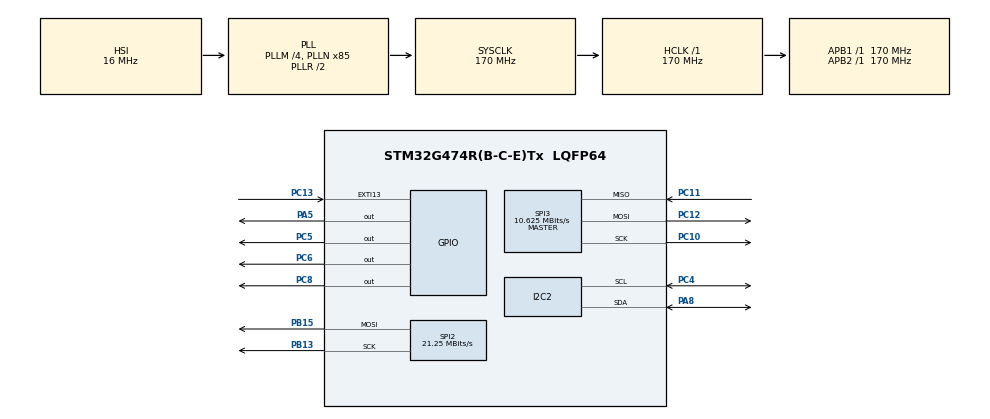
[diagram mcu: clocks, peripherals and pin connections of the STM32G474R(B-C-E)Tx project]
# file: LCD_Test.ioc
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I2C2.Timing=0x40B285C2
Mcu.Family=STM32G4
Mcu.Name=STM32G474R(B-C-E)Tx
Mcu.Package=LQFP64
NUCLEO-G474RE.BUTTON=1
NUCLEO-G474RE.LD2=true
NUCLEO-G474RE.VCP=true
NVIC.EXTI15_10_IRQn=true\:0\:0\:false\:false\:true\:true\:true\:true
NVIC.PriorityGroup=NVIC_PRIORITYGROUP_4
PA13.GPIO_Label=T_SWDIO
PA13.Mode=Serial_Wire
PA13.Signal=SYS_JTMS-SWDIO
PA14.GPIO_Label=T_SWCLK
PA14.Mode=Serial_Wire
PA14.Signal=SYS_JTCK-SWCLK
PA2.Signal=LPUART1_TX
PA3.Signal=LPUART1_RX
PA5.Signal=GPIO_Output
PA8.Mode=I2C
PA8.Signal=I2C2_SDA
PB13.Mode=TX_Only_Simplex_Unidirect_Master
PB13.Signal=SPI2_SCK
PB15.Mode=TX_Only_Simplex_Unidirect_Master
PB15.Signal=SPI2_MOSI
PB3.GPIO_Label=T_SWO
PB3.Signal=SYS_JTDO-SWO
PC10.Mode=Full_Duplex_Master
PC10.Signal=SPI3_SCK
PC11.Mode=Full_Duplex_Master
PC11.Signal=SPI3_MISO
PC12.Mode=Full_Duplex_Master
PC12.Signal=SPI3_MOSI
PC13.Signal=GPXTI13
PC14-OSC32_IN.GPIO_Label=RCC_OSC32_IN
PC14-OSC32_IN.Signal=RCC_OSC32_IN
PC15-OSC32_OUT.GPIO_Label=RCC_OSC32_OUT
PC15-OSC32_OUT.Signal=RCC_OSC32_OUT
PC4.Mode=I2C
PC4.Signal=I2C2_SCL
PC5.Signal=GPIO_Output
PC6.Signal=GPIO_Output
PC8.Signal=GPIO_Output
PF0-OSC_IN.GPIO_Label=RCC_OSC_IN
PF0-OSC_IN.Signal=RCC_OSC_IN
PF1-OSC_OUT.GPIO_Label=RCC_OSC_OUT
PF1-OSC_OUT.Signal=RCC_OSC_OUT
ProjectManager.HeapSize=0x200
ProjectManager.StackSize=0x400
ProjectManager.TargetToolchain=STM32CubeIDE
RCC.ADC12Freq_Value=170000000
RCC.ADC345Freq_Value=170000000
RCC.AHBFreq_Value=170000000
RCC.APB1Freq_Value=170000000
RCC.APB1TimFreq_Value=170000000
RCC.APB2Freq_Value=170000000
RCC.APB2TimFreq_Value=170000000
RCC.CortexFreq_Value=170000000
RCC.EXTERNAL_CLOCK_VALUE=12288000
RCC.HCLKFreq_Value=170000000
RCC.HSE_VALUE=24000000
RCC.HSI48_VALUE=48000000
RCC.HSI_VALUE=16000000
RCC.LSE_VALUE=32768
RCC.PLLM=RCC_PLLM_DIV4
RCC.PLLN=85
RCC.RTCClockSelection=RCC_RTCCLKSOURCE_LSE
RCC.SYSCLKFreq_VALUE=170000000
RCC.SYSCLKSource=RCC_SYSCLKSOURCE_PLLCLK
RCC.USBFreq_Value=170000000
RCC.VCOOutputFreq_Value=340000000
SPI2.BaudRatePrescaler=SPI_BAUDRATEPRESCALER_8
SPI2.CLKPhase=SPI_PHASE_2EDGE
SPI2.CLKPolarity=SPI_POLARITY_HIGH
SPI2.CalculateBaudRate=21.25 MBits/s
SPI2.DataSize=SPI_DATASIZE_8BIT
SPI2.Direction=SPI_DIRECTION_2LINES
SPI2.FirstBit=SPI_FIRSTBIT_MSB
SPI2.Mode=SPI_MODE_MASTER
SPI2.VirtualType=VM_MASTER
SPI3.BaudRatePrescaler=SPI_BAUDRATEPRESCALER_16
SPI3.CLKPhase=SPI_PHASE_2EDGE
SPI3.CLKPolarity=SPI_POLARITY_HIGH
SPI3.CalculateBaudRate=10.625 MBits/s
SPI3.DataSize=SPI_DATASIZE_8BIT
SPI3.Direction=SPI_DIRECTION_2LINES
SPI3.Mode=SPI_MODE_MASTER
SPI3.VirtualType=VM_MASTER
VP_NUCLEO-G474RE_VS_BSP_COMMON.Mode=COMMON
VP_SYS_VS_DBSignals.Mode=DisableDeadBatterySignals
board=NUCLEO-G474RE

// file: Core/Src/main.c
/* USER CODE BEGIN Header */
/**
  ******************************************************************************
  * @file           : main.c
  * @brief          : Main program body
  ******************************************************************************
  * @attention
  *
  * Copyright (c) 2026 STMicroelectronics.
  * All rights reserved.
  *
  * This software is licensed under terms that can be found in the LICENSE file
  * in the root directory of this software component.
  * If no LICENSE file comes with this software, it is provided AS-IS.
  *
  ******************************************************************************
  -------------------------------Okragły wyświetlacz GC9A01--------------------*/
/* USER CODE END Header */
#include "main.h"
#include "i2c.h"
#include "spi.h"
#include "gpio.h"

/* USER CODE BEGIN Includes */
#include <stdio.h>
#include "BME280_STM32.h"
#include <stdlib.h>
/* USER CODE END Includes */

/* USER CODE BEGIN PD */
#define LCD_CS_LOW()   HAL_GPIO_WritePin(GPIOC, GPIO_PIN_6, GPIO_PIN_RESET)
#define LCD_CS_HIGH()  HAL_GPIO_WritePin(GPIOC, GPIO_PIN_6, GPIO_PIN_SET)
#define LCD_DC_CMD()   HAL_GPIO_WritePin(GPIOC, GPIO_PIN_5, GPIO_PIN_RESET)
#define LCD_DC_DATA()  HAL_GPIO_WritePin(GPIOC, GPIO_PIN_5, GPIO_PIN_SET)
#define LCD_RST_LOW()  HAL_GPIO_WritePin(GPIOC, GPIO_PIN_8, GPIO_PIN_RESET)
#define LCD_RST_HIGH() HAL_GPIO_WritePin(GPIOC, GPIO_PIN_8, GPIO_PIN_SET)

#define LCD_W 240
#define LCD_H 240

/* kolory RGB565 */
#define RED     0xF800
#define GREEN   0x07E0
#define BLUE    0x001F
#define WHITE   0xFFFF
#define BLACK   0x0000
#define YELLOW  0xFFE0

/* USER CODE END PD */

COM_InitTypeDef BspCOMInit;

void SystemClock_Config(void);

/* USER CODE BEGIN 0 */
static void LCD_Cmd(uint8_t cmd)
{
    LCD_DC_CMD();
    LCD_CS_LOW();
    HAL_SPI_Transmit(&hspi2, &cmd, 1, HAL_MAX_DELAY);
    LCD_CS_HIGH();
}

static void LCD_Data(const uint8_t *data, uint16_t len)
{
    LCD_DC_DATA();
    LCD_CS_LOW();
    HAL_SPI_Transmit(&hspi2, (uint8_t *)data, len, HAL_MAX_DELAY);
    LCD_CS_HIGH();
}

/* komenda + dane z tablicy: {cmd, liczba_danych, dane...} */
static void LCD_CmdData(uint8_t cmd, const uint8_t *data, uint8_t len)
{
    LCD_Cmd(cmd);
    if (len) LCD_Data(data, len);
}

static const uint8_t init_seq[] = {
    0xEF,0,  0xEB,1,0x14,  0xFE,0,  0xEF,0,  0xEB,1,0x14,
    0x84,1,0x40, 0x85,1,0xFF, 0x86,1,0xFF, 0x87,1,0xFF,
    0x88,1,0x0A, 0x89,1,0x21, 0x8A,1,0x00, 0x8B,1,0x80,
    0x8C,1,0x01, 0x8D,1,0x01, 0x8E,1,0xFF, 0x8F,1,0xFF,
    0xB6,2,0x00,0x20,
	0x36,1,0xC8,            /* orientacja, BGR */
    0x3A,1,0x05,            /* 16 bit / piksel */
    0x90,4,0x08,0x08,0x08,0x08,
    0xBD,1,0x06, 0xBC,1,0x00,
    0xFF,3,0x60,0x01,0x04,
    0xC3,1,0x13, 0xC4,1,0x13, 0xC9,1,0x22, 0xBE,1,0x11,
    0xE1,2,0x10,0x0E,
    0xDF,3,0x21,0x0C,0x02,
    0xF0,6,0x45,0x09,0x08,0x08,0x26,0x2A,
    0xF1,6,0x43,0x70,0x72,0x36,0x37,0x6F,
    0xF2,6,0x45,0x09,0x08,0x08,0x26,0x2A,
    0xF3,6,0x43,0x70,0x72,0x36,0x37,0x6F,
    0xED,2,0x1B,0x0B, 0xAE,1,0x77, 0xCD,1,0x63,
    0x70,9,0x07,0x07,0x04,0x0E,0x0F,0x09,0x07,0x08,0x03,
    0xE8,1,0x34,
    0x62,12,0x18,0x0D,0x71,0xED,0x70,0x70,0x18,0x0F,0x71,0xEF,0x70,0x70,
    0x63,12,0x18,0x11,0x71,0xF1,0x70,0x70,0x18,0x13,0x71,0xF3,0x70,0x70,
    0x64,7,0x28,0x29,0xF1,0x01,0xF1,0x00,0x07,
    0x66,10,0x3C,0x00,0xCD,0x67,0x45,0x45,0x10,0x00,0x00,0x00,
    0x67,10,0x00,0x3C,0x00,0x00,0x00,0x01,0x54,0x10,0x32,0x98,
    0x74,7,0x10,0x85,0x80,0x00,0x00,0x4E,0x00,
    0x98,2,0x3E,0x07,
    0x35,0,                 /* tearing effect on */
    0x21,0,                 /* inwersja kolorów (wymagana w GC9A01) */
};

static void LCD_Init(void)
{
    LCD_CS_HIGH();
    LCD_RST_HIGH(); HAL_Delay(10);
    LCD_RST_LOW();  HAL_Delay(10);
    LCD_RST_HIGH(); HAL_Delay(120);

    uint16_t i = 0;
    while (i < sizeof(init_seq))
    {
        uint8_t cmd = init_seq[i++];
        uint8_t len = init_seq[i++];
        LCD_CmdData(cmd, &init_seq[i], len);
        i += len;
    }

    LCD_Cmd(0x11);  HAL_Delay(120);   /* wyjście ze sleep */
    LCD_Cmd(0x29);  HAL_Delay(20);    /* włącz wyświetlanie */
}

static void LCD_SetWindow(uint16_t x0, uint16_t y0, uint16_t x1, uint16_t y1)
{
    uint8_t d[4];
    d[0] = x0 >> 8; d[1] = x0; d[2] = x1 >> 8; d[3] = x1;
    LCD_CmdData(0x2A, d, 4);          /* kolumny */
    d[0] = y0 >> 8; d[1] = y0; d[2] = y1 >> 8; d[3] = y1;
    LCD_CmdData(0x2B, d, 4);          /* wiersze */
    LCD_Cmd(0x2C);                    /* zapis pamięci */
}

static void LCD_FillRect(uint16_t x, uint16_t y, uint16_t w, uint16_t h, uint16_t color)
{
    static uint8_t line[LCD_W * 2];
    for (uint16_t i = 0; i < w; i++)
    {
        line[2*i]   = color >> 8;     /* najpierw starszy bajt */
        line[2*i+1] = color & 0xFF;
    }

    LCD_SetWindow(x, y, x + w - 1, y + h - 1);
    LCD_DC_DATA();
    LCD_CS_LOW();
    for (uint16_t row = 0; row < h; row++)
        HAL_SPI_Transmit(&hspi2, line, w * 2, HAL_MAX_DELAY);
    LCD_CS_HIGH();
}
/* Jeden piksel */
static void LCD_DrawPixel(int16_t x, int16_t y, uint16_t color)
{
    if (x < 0 || y < 0 || x >= LCD_W || y >= LCD_H) return;
    uint8_t d[2] = { color >> 8, color & 0xFF };
    LCD_SetWindow(x, y, x, y);
    LCD_Data(d, 2);
}

/* Okrąg (sam obwód): środek (x0, y0), promień r */
static void LCD_DrawCircle(int16_t x0, int16_t y0, int16_t r, uint16_t color)
{
    int16_t x = r, y = 0;
    int16_t err = 1 - r;

    while (x >= y)
    {
        /* 8 symetrycznych punktów */
        LCD_DrawPixel(x0 + x, y0 + y, color);
        LCD_DrawPixel(x0 + y, y0 + x, color);
        LCD_DrawPixel(x0 - y, y0 + x, color);
        LCD_DrawPixel(x0 - x, y0 + y, color);
        LCD_DrawPixel(x0 - x, y0 - y, color);
        LCD_DrawPixel(x0 - y, y0 - x, color);
        LCD_DrawPixel(x0 + y, y0 - x, color);
        LCD_DrawPixel(x0 + x, y0 - y, color);

        y++;
        if (err < 0)
            err += 2 * y + 1;
        else
        {
            x--;
            err += 2 * (y - x) + 1;
        }
    }
}

/* Linia pozioma - pomocnicza do wypełnionego koła */
static void LCD_HLine(int16_t x, int16_t y, int16_t w, uint16_t color)
{
    if (y < 0 || y >= LCD_H) return;
    if (x < 0) { w += x; x = 0; }
    if (x + w > LCD_W) w = LCD_W - x;
    if (w > 0) LCD_FillRect(x, y, w, 1, color);
}

/* Koło wypełnione */
static void LCD_FillCircle(int16_t x0, int16_t y0, int16_t r, uint16_t color)
{
    int16_t x = r, y = 0;
    int16_t err = 1 - r;

    while (x >= y)
    {
        LCD_HLine(x0 - x, y0 + y, 2 * x + 1, color);
        LCD_HLine(x0 - x, y0 - y, 2 * x + 1, color);
        LCD_HLine(x0 - y, y0 + x, 2 * y + 1, color);
        LCD_HLine(x0 - y, y0 - x, 2 * y + 1, color);

        y++;
        if (err < 0)
            err += 2 * y + 1;
        else
        {
            x--;
            err += 2 * (y - x) + 1;
        }
    }
}
static void LCD_Fill(uint16_t color)

{
    LCD_FillRect(0, 0, LCD_W, LCD_H, color);
}

/* =====================================================================
 *  Wyświetlanie napisów na GC9A01
 *  Wklej CAŁOŚĆ do sekcji  USER CODE BEGIN 0  w main.c,
 *  POD funkcją LCD_Fill() (korzysta z LCD_SetWindow i LCD_Data).
 *
 *  Czcionka 5x7 (ASCII 32..126), każdy znak zajmuje 6x8 pikseli.
 *  Parametr "scale" powiększa tekst: 1 = 6x8, 2 = 12x16, 3 = 18x24 ...
 *  Polskie znaki (ą, ę, ł...) nie są obsługiwane - pojawi się "?".
 * ===================================================================== */

#define FONT_W        5
#define FONT_H        7
#define CHAR_W        6      /* 5 kolumn + 1 odstępu */
#define CHAR_H        8      /* 7 wierszy + 1 odstępu */
#define TEXT_MAX_SCALE 6

static const uint8_t font5x7[] = {
    0x00,0x00,0x00,0x00,0x00, /* ' ' */
    0x00,0x00,0x5F,0x00,0x00, /* !  */
    0x00,0x07,0x00,0x07,0x00, /* "  */
    0x14,0x7F,0x14,0x7F,0x14, /* #  */
    0x24,0x2A,0x7F,0x2A,0x12, /* $  */
    0x23,0x13,0x08,0x64,0x62, /* %  */
    0x36,0x49,0x55,0x22,0x50, /* &  */
    0x00,0x05,0x03,0x00,0x00, /* '  */
    0x00,0x1C,0x22,0x41,0x00, /* (  */
    0x00,0x41,0x22,0x1C,0x00, /* )  */
    0x08,0x2A,0x1C,0x2A,0x08, /* *  */
    0x08,0x08,0x3E,0x08,0x08, /* +  */
    0x00,0x50,0x30,0x00,0x00, /* ,  */
    0x08,0x08,0x08,0x08,0x08, /* -  */
    0x00,0x60,0x60,0x00,0x00, /* .  */
    0x20,0x10,0x08,0x04,0x02, /* /  */
    0x3E,0x51,0x49,0x45,0x3E, /* 0  */
    0x00,0x42,0x7F,0x40,0x00, /* 1  */
    0x42,0x61,0x51,0x49,0x46, /* 2  */
    0x21,0x41,0x45,0x4B,0x31, /* 3  */
    0x18,0x14,0x12,0x7F,0x10, /* 4  */
    0x27,0x45,0x45,0x45,0x39, /* 5  */
    0x3C,0x4A,0x49,0x49,0x30, /* 6  */
    0x01,0x71,0x09,0x05,0x03, /* 7  */
    0x36,0x49,0x49,0x49,0x36, /* 8  */
    0x06,0x49,0x49,0x29,0x1E, /* 9  */
    0x00,0x36,0x36,0x00,0x00, /* :  */
    0x00,0x56,0x36,0x00,0x00, /* ;  */
    0x08,0x14,0x22,0x41,0x00, /* <  */
    0x14,0x14,0x14,0x14,0x14, /* =  */
    0x00,0x41,0x22,0x14,0x08, /* >  */
    0x02,0x01,0x51,0x09,0x06, /* ?  */
    0x32,0x49,0x79,0x41,0x3E, /* @  */
    0x7E,0x11,0x11,0x11,0x7E, /* A  */
    0x7F,0x49,0x49,0x49,0x36, /* B  */
    0x3E,0x41,0x41,0x41,0x22, /* C  */
    0x7F,0x41,0x41,0x22,0x1C, /* D  */
    0x7F,0x49,0x49,0x49,0x41, /* E  */
    0x7F,0x09,0x09,0x01,0x01, /* F  */
    0x3E,0x41,0x41,0x51,0x32, /* G  */
    0x7F,0x08,0x08,0x08,0x7F, /* H  */
    0x00,0x41,0x7F,0x41,0x00, /* I  */
    0x20,0x40,0x41,0x3F,0x01, /* J  */
    0x7F,0x08,0x14,0x22,0x41, /* K  */
    0x7F,0x40,0x40,0x40,0x40, /* L  */
    0x7F,0x02,0x04,0x02,0x7F, /* M  */
    0x7F,0x04,0x08,0x10,0x7F, /* N  */
    0x3E,0x41,0x41,0x41,0x3E, /* O  */
    0x7F,0x09,0x09,0x09,0x06, /* P  */
    0x3E,0x41,0x51,0x21,0x5E, /* Q  */
    0x7F,0x09,0x19,0x29,0x46, /* R  */
    0x46,0x49,0x49,0x49,0x31, /* S  */
    0x01,0x01,0x7F,0x01,0x01, /* T  */
    0x3F,0x40,0x40,0x40,0x3F, /* U  */
    0x1F,0x20,0x40,0x20,0x1F, /* V  */
    0x7F,0x20,0x18,0x20,0x7F, /* W  */
    0x63,0x14,0x08,0x14,0x63, /* X  */
    0x03,0x04,0x78,0x04,0x03, /* Y  */
    0x61,0x51,0x49,0x45,0x43, /* Z  */
    0x00,0x7F,0x41,0x41,0x00, /* [  */
    0x02,0x04,0x08,0x10,0x20, /* \  */
    0x00,0x41,0x41,0x7F,0x00, /* ]  */
    0x04,0x02,0x01,0x02,0x04, /* ^  */
    0x40,0x40,0x40,0x40,0x40, /* _  */
    0x00,0x01,0x02,0x04,0x00, /* `  */
    0x20,0x54,0x54,0x54,0x78, /* a  */
    0x7F,0x48,0x44,0x44,0x38, /* b  */
    0x38,0x44,0x44,0x44,0x20, /* c  */
    0x38,0x44,0x44,0x48,0x7F, /* d  */
    0x38,0x54,0x54,0x54,0x18, /* e  */
    0x08,0x7E,0x09,0x01,0x02, /* f  */
    0x08,0x14,0x54,0x54,0x3C, /* g  */
    0x7F,0x08,0x04,0x04,0x78, /* h  */
    0x00,0x44,0x7D,0x40,0x00, /* i  */
    0x20,0x40,0x44,0x3D,0x00, /* j  */
    0x00,0x7F,0x10,0x28,0x44, /* k  */
    0x00,0x41,0x7F,0x40,0x00, /* l  */
    0x7C,0x04,0x18,0x04,0x78, /* m  */
    0x7C,0x08,0x04,0x04,0x78, /* n  */
    0x38,0x44,0x44,0x44,0x38, /* o  */
    0x7C,0x14,0x14,0x14,0x08, /* p  */
    0x08,0x14,0x14,0x18,0x7C, /* q  */
    0x7C,0x08,0x04,0x04,0x08, /* r  */
    0x48,0x54,0x54,0x54,0x20, /* s  */
    0x04,0x3F,0x44,0x40,0x20, /* t  */
    0x3C,0x40,0x40,0x20,0x7C, /* u  */
    0x1C,0x20,0x40,0x20,0x1C, /* v  */
    0x3C,0x40,0x30,0x40,0x3C, /* w  */
    0x44,0x28,0x10,0x28,0x44, /* x  */
    0x0C,0x50,0x50,0x50,0x3C, /* y  */
    0x44,0x64,0x54,0x4C,0x44, /* z  */
    0x00,0x08,0x36,0x41,0x00, /* {  */
    0x00,0x00,0x7F,0x00,0x00, /* |  */
    0x00,0x41,0x36,0x08,0x00, /* }  */
    0x08,0x04,0x08,0x10,0x08, /* ~  */
};

/* Rysuje jeden znak. (x, y) = lewy górny róg. */
static void LCD_DrawChar(uint16_t x, uint16_t y, char c,
                         uint16_t fg, uint16_t bg, uint8_t scale)
{
    static uint8_t buf[CHAR_W * TEXT_MAX_SCALE * CHAR_H * TEXT_MAX_SCALE * 2];

    if (scale < 1) scale = 1;
    if (scale > TEXT_MAX_SCALE) scale = TEXT_MAX_SCALE;
    if (c < 32 || c > 126) c = '?';

    uint16_t w = CHAR_W * scale;
    uint16_t h = CHAR_H * scale;
    if (x + w > LCD_W || y + h > LCD_H) return;   /* poza ekranem */

    const uint8_t *glyph = &font5x7[(c - 32) * FONT_W];
    uint32_t n = 0;

    for (uint16_t py = 0; py < h; py++)
    {
        uint8_t row = py / scale;
        for (uint16_t px = 0; px < w; px++)
        {
            uint8_t col = px / scale;
            uint16_t color = bg;
            if (col < FONT_W && row < FONT_H && (glyph[col] & (1 << row)))
                color = fg;
            buf[n++] = color >> 8;
            buf[n++] = color & 0xFF;
        }
    }

    LCD_SetWindow(x, y, x + w - 1, y + h - 1);
    LCD_Data(buf, (uint16_t)n);
}

/* Rysuje napis zaczynając od (x, y). '\n' przechodzi do nowej linii. */
static void LCD_DrawString(uint16_t x, uint16_t y, const char *s,
                           uint16_t fg, uint16_t bg, uint8_t scale)
{
    uint16_t x0 = x;
    while (*s)
    {
        if (*s == '\n')
        {
            x = x0;
            y += CHAR_H * scale;
        }
        else
        {
            LCD_DrawChar(x, y, *s, fg, bg, scale);
            x += CHAR_W * scale;
        }
        s++;
    }
}

/* Rysuje napis wyśrodkowany poziomo na wysokości y (wygodne na okrągłym ekranie). */
static void LCD_DrawStringCentered(uint16_t y, const char *s,
                                   uint16_t fg, uint16_t bg, uint8_t scale)
{
    uint16_t len = 0;
    for (const char *p = s; *p; p++) len++;

    uint16_t w = len * CHAR_W * scale;
    uint16_t x = (w < LCD_W) ? (LCD_W - w) / 2 : 0;
    LCD_DrawString(x, y, s, fg, bg, scale);
}

/* ------------------------------------------------------------------
 *  PRZYKŁAD UŻYCIA (np. w USER CODE BEGIN 2, po LCD_Init()):
 *
 *    LCD_Fill(BLACK);
 *    LCD_DrawStringCentered(70,  "Hello",     WHITE,  BLACK, 4);
 *    LCD_DrawStringCentered(115, "STM32G474", YELLOW, BLACK, 2);
 *    LCD_DrawStringCentered(145, "GC9A01",    GREEN,  BLACK, 2);
 *
 *  Licznik w pętli while(1):
 *
 *    static uint32_t licznik = 0;
 *    char txt[16];
 *    sprintf(txt, "%5lu", licznik++);          // #include <stdio.h>
 *    LCD_DrawStringCentered(180, txt, RED, BLACK, 3);
 *    HAL_Delay(200);
 * ------------------------------------------------------------------ */

/* USER CODE END 0 */

int main(void)
{

  /* MCU Configuration--------------------------------------------------------*/

  /* Reset of all peripherals, Initializes the Flash interface and the Systick. */
  HAL_Init();

  /* Configure the system clock */
  SystemClock_Config();

  /* Initialize all configured peripherals */
  MX_GPIO_Init();
  MX_SPI2_Init();
  MX_SPI3_Init();
  MX_I2C2_Init();
  /* USER CODE BEGIN 2 */
  LCD_Init();

   LCD_Fill(BLACK);
	  LCD_DrawCircle(120, 120, 115, WHITE);
LCD_DrawStringCentered(100, "1. Test String", 0x5566,0x0000, 2);
int  bmeStatus = BME280_Config(OSRS_2, OSRS_16, OSRS_1, MODE_NORMAL, T_SB_0p5, IIR_16);
LCD_DrawStringCentered(150, (char)bmeStatus, 0x5566,0x0000, 2);
/* USER CODE END 2 */

  /* Initialize led */
  BSP_LED_Init(LED_GREEN);

  /* Initialize USER push-button, will be used to trigger an interrupt each time it's pressed.*/
  BSP_PB_Init(BUTTON_USER, BUTTON_MODE_EXTI);

  /* Initialize COM1 port (115200, 8 bits (7-bit data + 1 stop bit), no parity */
  BspCOMInit.BaudRate   = 115200;
  BspCOMInit.WordLength = COM_WORDLENGTH_8B;
  BspCOMInit.StopBits   = COM_STOPBITS_1;
  BspCOMInit.Parity     = COM_PARITY_NONE;
  BspCOMInit.HwFlowCtl  = COM_HWCONTROL_NONE;
  if (BSP_COM_Init(COM1, &BspCOMInit) != BSP_ERROR_NONE)
  {
    Error_Handler();
  }

  /* Infinite loop */
  /* USER CODE BEGIN WHILE */
  float temperature = 0.0f;
  float pressure = 0.0f;
  float humidity = 0.0f;

  while (1)
  {
      HAL_Delay(1000);

	    //LCD_FillRect(0,   0,   120, 120, RED);
	    //LCD_FillRect(120, 0,   120, 120, GREEN);
	    //LCD_FillRect(0,   120, 120, 120, BLUE);
	    //LCD_FillRect(120, 120, 120, 120, YELLOW);
	    //LCD_FillRect(90,  90,  60,  60,  WHITE);
	    //HAL_Delay(1000);
	    //LCD_Fill(BLACK);
      BME280_Measure(&temperature, &pressure, &humidity);
      printf("T=%d.%02d C  P=%ld Pa  ID=0x%02X\r\n", (int)temperature, abs((int)(temperature * 100) % 100),   (long)pressure, chipID);
    /* USER CODE END WHILE */

  }
}

void SystemClock_Config(void)
{
  RCC_OscInitTypeDef RCC_OscInitStruct = {0};
  RCC_ClkInitTypeDef RCC_ClkInitStruct = {0};

  /** Configure the main internal regulator output voltage
  */
  HAL_PWREx_ControlVoltageScaling(PWR_REGULATOR_VOLTAGE_SCALE1_BOOST);

  /** Initializes the RCC Oscillators according to the specified parameters
  * in the RCC_OscInitTypeDef structure.
  */
  RCC_OscInitStruct.OscillatorType = RCC_OSCILLATORTYPE_HSI;
  RCC_OscInitStruct.HSIState = RCC_HSI_ON;
  RCC_OscInitStruct.HSICalibrationValue = RCC_HSICALIBRATION_DEFAULT;
  RCC_OscInitStruct.PLL.PLLState = RCC_PLL_ON;
  RCC_OscInitStruct.PLL.PLLSource = RCC_PLLSOURCE_HSI;
  RCC_OscInitStruct.PLL.PLLM = RCC_PLLM_DIV4;
  RCC_OscInitStruct.PLL.PLLN = 85;
  RCC_OscInitStruct.PLL.PLLP = RCC_PLLP_DIV2;
  RCC_OscInitStruct.PLL.PLLQ = RCC_PLLQ_DIV2;
  RCC_OscInitStruct.PLL.PLLR = RCC_PLLR_DIV2;
  if (HAL_RCC_OscConfig(&RCC_OscInitStruct) != HAL_OK)
  {
    Error_Handler();
  }

  /** Initializes the CPU, AHB and APB buses clocks
  */
  RCC_ClkInitStruct.ClockType = RCC_CLOCKTYPE_HCLK|RCC_CLOCKTYPE_SYSCLK
                              |RCC_CLOCKTYPE_PCLK1|RCC_CLOCKTYPE_PCLK2;
  RCC_ClkInitStruct.SYSCLKSource = RCC_SYSCLKSOURCE_PLLCLK;
  RCC_ClkInitStruct.AHBCLKDivider = RCC_SYSCLK_DIV1;
  RCC_ClkInitStruct.APB1CLKDivider = RCC_HCLK_DIV1;
  RCC_ClkInitStruct.APB2CLKDivider = RCC_HCLK_DIV1;

  if (HAL_RCC_ClockConfig(&RCC_ClkInitStruct, FLASH_LATENCY_4) != HAL_OK)
  {
    Error_Handler();
  }
}

void Error_Handler(void)
{
  __disable_irq();
  while (1)
  {
  }
}
